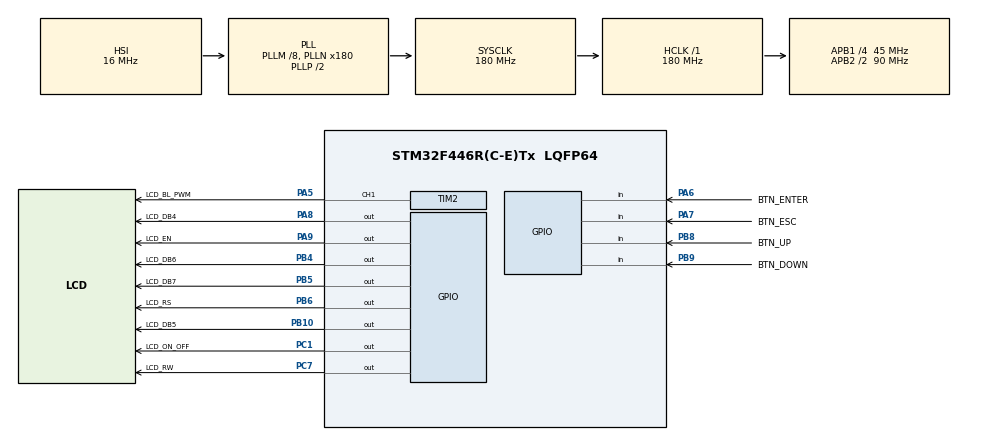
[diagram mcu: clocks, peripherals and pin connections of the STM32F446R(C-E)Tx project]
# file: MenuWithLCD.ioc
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Mcu.Family=STM32F4
Mcu.Name=STM32F446R(C-E)Tx
Mcu.Package=LQFP64
NVIC.PriorityGroup=NVIC_PRIORITYGROUP_4
NVIC.TIM1_BRK_TIM9_IRQn=true\:0\:0\:false\:false\:true\:true\:true\:true
PA5.GPIO_Label=LCD_BL_PWM
PA5.Signal=S_TIM2_CH1_ETR
PA6.GPIO_Label=BTN_ENTER
PA6.Signal=GPIO_Input
PA7.GPIO_Label=BTN_ESC
PA7.Signal=GPIO_Input
PA8.GPIO_Label=LCD_DB4
PA8.Signal=GPIO_Output
PA9.GPIO_Label=LCD_EN
PA9.Signal=GPIO_Output
PB10.GPIO_Label=LCD_DB5
PB10.Signal=GPIO_Output
PB4.GPIO_Label=LCD_DB6
PB4.Signal=GPIO_Output
PB5.GPIO_Label=LCD_DB7
PB5.Signal=GPIO_Output
PB6.GPIO_Label=LCD_RS
PB6.Signal=GPIO_Output
PB8.GPIO_Label=BTN_UP
PB8.Signal=GPIO_Input
PB9.GPIO_Label=BTN_DOWN
PB9.Signal=GPIO_Input
PC1.GPIO_Label=LCD_ON_OFF
PC1.Signal=GPIO_Output
PC7.GPIO_Label=LCD_RW
PC7.Signal=GPIO_Output
ProjectManager.HeapSize=0x200
ProjectManager.StackSize=0x400
ProjectManager.TargetToolchain=STM32CubeIDE
RCC.AHBFreq_Value=180000000
RCC.APB1CLKDivider=RCC_HCLK_DIV4
RCC.APB1Freq_Value=45000000
RCC.APB1TimFreq_Value=90000000
RCC.APB2CLKDivider=RCC_HCLK_DIV2
RCC.APB2Freq_Value=90000000
RCC.APB2TimFreq_Value=180000000
RCC.CortexFreq_Value=180000000
RCC.HCLKFreq_Value=180000000
RCC.PLLM=8
RCC.PLLN=180
RCC.SYSCLKFreq_VALUE=180000000
RCC.SYSCLKSource=RCC_SYSCLKSOURCE_PLLCLK
RCC.USBFreq_Value=180000000
RCC.VCOOutputFreq_Value=360000000
SH.S_TIM2_CH1_ETR.0=TIM2_CH1,PWM Generation1 CH1
TIM2.Channel-PWM\ Generation1\ CH1=TIM_CHANNEL_1
TIM2.Period=50
TIM2.Prescaler=40-1
TIM2.Pulse-PWM\ Generation1\ CH1=500
TIM9.Period=100-1
TIM9.Prescaler=18-1
VP_TIM9_VS_ClockSourceINT.Mode=Internal
board=custom

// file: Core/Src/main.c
/* USER CODE BEGIN Header */
/**
  ******************************************************************************
  * @file           : main.c
  * @brief          : Main program body
  ******************************************************************************
  * @attention
  *
  * Copyright (c) 2023 STMicroelectronics.
  * All rights reserved.
  *
  * This software is licensed under terms that can be found in the LICENSE file
  * in the root directory of this software component.
  * If no LICENSE file comes with this software, it is provided AS-IS.
  *
  ******************************************************************************
  */
/* USER CODE END Header */
#include "main.h"

/* USER CODE BEGIN Includes */
#include "lcdController.h"
#include "pushButton.h"
#include <stdio.h>
#include <string.h>
#include <inttypes.h>

/* USER CODE END Includes */

TIM_HandleTypeDef htim2;
TIM_HandleTypeDef htim9;

/* USER CODE BEGIN PV */
LcdController lcd;

PushButton upPushButton;
PushButton downPushButton;
PushButton enterPushButton;
PushButton escPushButton;

PressState pushButtonState = UNPRESSED;

uint8_t screen_0[17] = "++++++++++++++++";
uint8_t screen_1[17] = "----------------";
uint8_t screen_2[17] = "****************";
uint8_t screen_3[17] = "////////////////";
uint8_t screen_4[17] = "================";
uint8_t currentScreen = 0;
uint8_t stateMachine = 0;

/* USER CODE END PV */

void SystemClock_Config(void);
static void MX_GPIO_Init(void);
static void MX_TIM2_Init(void);
static void MX_TIM9_Init(void);

/* USER CODE BEGIN 0 */

/*
 * Timer interrupt handling (10us)
 */
void HAL_TIM_PeriodElapsedCallback(TIM_HandleTypeDef *htim)
{
	if(htim == &htim9)
	{
		if(lcdControllerGetDelayStatus(&lcd) == TRUE)
		{
			lcdControllerIncrementDelayCounter(&lcd);
		}

		if(lcdControllerGetEnableDelayStatus(&lcd) == TRUE)
		{
			lcdControllerIncrementEnableDelayCounter(&lcd);
		}
	}
}

/* USER CODE END 0 */

int main(void)
{

  /* MCU Configuration--------------------------------------------------------*/

  /* Reset of all peripherals, Initializes the Flash interface and the Systick. */
  HAL_Init();

  /* Configure the system clock */
  SystemClock_Config();

  /* Initialize all configured peripherals */
  MX_GPIO_Init();
  MX_TIM2_Init();
  MX_TIM9_Init();
  /* USER CODE BEGIN 2 */

  pushButtonInit(&upPushButton, BTN_UP_GPIO_Port, BTN_UP_Pin, NORMALLY_LOW, 3500, 30000);
  pushButtonInit(&downPushButton, BTN_DOWN_GPIO_Port, BTN_DOWN_Pin, NORMALLY_LOW, 3500, 30000);
  pushButtonInit(&enterPushButton, BTN_ENTER_GPIO_Port, BTN_ENTER_Pin, NORMALLY_LOW, 3500, 30000);
  pushButtonInit(&escPushButton, BTN_ESC_GPIO_Port, BTN_ESC_Pin, NORMALLY_LOW, 3500, 30000);

  lcdControllerInitStruct(&lcd,
		  LCD_RS_GPIO_Port, LCD_RS_Pin,
		  LCD_RW_GPIO_Port, LCD_RW_Pin,
		  LCD_EN_GPIO_Port, LCD_EN_Pin,
		  LCD_DB4_GPIO_Port, LCD_DB4_Pin,
		  LCD_DB5_GPIO_Port, LCD_DB5_Pin,
		  LCD_DB6_GPIO_Port, LCD_DB6_Pin,
		  LCD_DB7_GPIO_Port, LCD_DB7_Pin,
		  LCD_ON_OFF_GPIO_Port, LCD_ON_OFF_Pin,
		  &htim2, TIM_CHANNEL_1);

  HAL_Delay(250);
  HAL_TIM_PWM_Start(&htim2, TIM_CHANNEL_1);
  HAL_TIM_Base_Start_IT(&htim9);

  /* USER CODE END 2 */

  /* Infinite loop */
  while (1)
  {

    /* USER CODE BEGIN 3 */

	  /* ============================================================================= */

	  /********************************* TOP SLOT START ********************************/

	  if(lcdControllerIsInitialized(&lcd) == FALSE)
	  {
		  lcdControllerInit(&lcd);
		  continue;
	  }

	  /********************************** TOP SLOT END *********************************/

	  /* ============================================================================= */

	  /****************************** STATE MACHINE START ******************************/

	  switch (stateMachine)
	  {
		  case 0:
			  pushButtonState = pushButtonReadSingleAndContinuousPress(&upPushButton);
			  if(pushButtonState == PRESSED)
			  {
				  currentScreen += 1;
				  if(currentScreen > 4)
				  {
					  currentScreen = 4;
				  }
			  }
			  stateMachine = 1;
			  break;

		  case 1:
			  pushButtonState = pushButtonReadSingleAndContinuousPress(&downPushButton);
			  if(pushButtonState == PRESSED)
			  {
				  currentScreen -= 1;
				  if(currentScreen < 0)
				  {
					  currentScreen = 0;
				  }
			  }
			  stateMachine = 2;
			  break;

		  case 2:
			  switch (currentScreen)
			  {
				  case 0:
					  lcdControllerSetString(&lcd, ROW_0, screen_0);
					  lcdControllerSetString(&lcd, ROW_1, screen_0);
					  lcdControllerSetString(&lcd, ROW_2, screen_0);
					  lcdControllerSetString(&lcd, ROW_3, screen_0);
					  break;

				  case 1:
					  lcdControllerSetString(&lcd, ROW_0, screen_1);
					  lcdControllerSetString(&lcd, ROW_1, screen_1);
					  lcdControllerSetString(&lcd, ROW_2, screen_1);
					  lcdControllerSetString(&lcd, ROW_3, screen_1);
					  break;

				  case 2:
					  lcdControllerSetString(&lcd, ROW_0, screen_2);
					  lcdControllerSetString(&lcd, ROW_1, screen_2);
					  lcdControllerSetString(&lcd, ROW_2, screen_2);
					  lcdControllerSetString(&lcd, ROW_3, screen_2);
					  break;

				  case 3:
					  lcdControllerSetString(&lcd, ROW_0, screen_3);
					  lcdControllerSetString(&lcd, ROW_1, screen_3);
					  lcdControllerSetString(&lcd, ROW_2, screen_3);
					  lcdControllerSetString(&lcd, ROW_3, screen_3);
					  break;

				  case 4:
					  lcdControllerSetString(&lcd, ROW_0, screen_4);
					  lcdControllerSetString(&lcd, ROW_1, screen_4);
					  lcdControllerSetString(&lcd, ROW_2, screen_4);
					  lcdControllerSetString(&lcd, ROW_3, screen_4);
					  break;

				  default:
					  currentScreen = 0;
					  break;
			  }
			  stateMachine = 0;
			  break;

		  default:
			  stateMachine = 0;
			  break;
	  }

	  /******************************* STATE MACHINE END *******************************/

	  /* ============================================================================= */

	  /******************************* BOTTOM SLOT START *******************************/

	  lcdControllerUpdate(&lcd);

	  /******************************** BOTTOM SLOT END ********************************/

	  /* ============================================================================= */

  }
  /* USER CODE END 3 */
}

void SystemClock_Config(void)
{
  RCC_OscInitTypeDef RCC_OscInitStruct = {0};
  RCC_ClkInitTypeDef RCC_ClkInitStruct = {0};

  /** Configure the main internal regulator output voltage
  */
  __HAL_RCC_PWR_CLK_ENABLE();
  __HAL_PWR_VOLTAGESCALING_CONFIG(PWR_REGULATOR_VOLTAGE_SCALE1);

  /** Initializes the RCC Oscillators according to the specified parameters
  * in the RCC_OscInitTypeDef structure.
  */
  RCC_OscInitStruct.OscillatorType = RCC_OSCILLATORTYPE_HSI;
  RCC_OscInitStruct.HSIState = RCC_HSI_ON;
  RCC_OscInitStruct.HSICalibrationValue = RCC_HSICALIBRATION_DEFAULT;
  RCC_OscInitStruct.PLL.PLLState = RCC_PLL_ON;
  RCC_OscInitStruct.PLL.PLLSource = RCC_PLLSOURCE_HSI;
  RCC_OscInitStruct.PLL.PLLM = 8;
  RCC_OscInitStruct.PLL.PLLN = 180;
  RCC_OscInitStruct.PLL.PLLP = RCC_PLLP_DIV2;
  RCC_OscInitStruct.PLL.PLLQ = 2;
  RCC_OscInitStruct.PLL.PLLR = 2;
  if (HAL_RCC_OscConfig(&RCC_OscInitStruct) != HAL_OK)
  {
    Error_Handler();
  }

  /** Activate the Over-Drive mode
  */
  if (HAL_PWREx_EnableOverDrive() != HAL_OK)
  {
    Error_Handler();
  }

  /** Initializes the CPU, AHB and APB buses clocks
  */
  RCC_ClkInitStruct.ClockType = RCC_CLOCKTYPE_HCLK|RCC_CLOCKTYPE_SYSCLK
                              |RCC_CLOCKTYPE_PCLK1|RCC_CLOCKTYPE_PCLK2;
  RCC_ClkInitStruct.SYSCLKSource = RCC_SYSCLKSOURCE_PLLCLK;
  RCC_ClkInitStruct.AHBCLKDivider = RCC_SYSCLK_DIV1;
  RCC_ClkInitStruct.APB1CLKDivider = RCC_HCLK_DIV4;
  RCC_ClkInitStruct.APB2CLKDivider = RCC_HCLK_DIV2;

  if (HAL_RCC_ClockConfig(&RCC_ClkInitStruct, FLASH_LATENCY_5) != HAL_OK)
  {
    Error_Handler();
  }
}

static void MX_TIM2_Init(void)
{

  TIM_MasterConfigTypeDef sMasterConfig = {0};
  TIM_OC_InitTypeDef sConfigOC = {0};

  htim2.Instance = TIM2;
  htim2.Init.Prescaler = 40-1;
  htim2.Init.CounterMode = TIM_COUNTERMODE_UP;
  htim2.Init.Period = 50;
  htim2.Init.ClockDivision = TIM_CLOCKDIVISION_DIV1;
  htim2.Init.AutoReloadPreload = TIM_AUTORELOAD_PRELOAD_DISABLE;
  if (HAL_TIM_PWM_Init(&htim2) != HAL_OK)
  {
    Error_Handler();
  }
  sMasterConfig.MasterOutputTrigger = TIM_TRGO_RESET;
  sMasterConfig.MasterSlaveMode = TIM_MASTERSLAVEMODE_DISABLE;
  if (HAL_TIMEx_MasterConfigSynchronization(&htim2, &sMasterConfig) != HAL_OK)
  {
    Error_Handler();
  }
  sConfigOC.OCMode = TIM_OCMODE_PWM1;
  sConfigOC.Pulse = 500;
  sConfigOC.OCPolarity = TIM_OCPOLARITY_HIGH;
  sConfigOC.OCFastMode = TIM_OCFAST_DISABLE;
  if (HAL_TIM_PWM_ConfigChannel(&htim2, &sConfigOC, TIM_CHANNEL_1) != HAL_OK)
  {
    Error_Handler();
  }
  HAL_TIM_MspPostInit(&htim2);

}

static void MX_TIM9_Init(void)
{

  TIM_ClockConfigTypeDef sClockSourceConfig = {0};

  htim9.Instance = TIM9;
  htim9.Init.Prescaler = 18-1;
  htim9.Init.CounterMode = TIM_COUNTERMODE_UP;
  htim9.Init.Period = 100-1;
  htim9.Init.ClockDivision = TIM_CLOCKDIVISION_DIV1;
  htim9.Init.AutoReloadPreload = TIM_AUTORELOAD_PRELOAD_DISABLE;
  if (HAL_TIM_Base_Init(&htim9) != HAL_OK)
  {
    Error_Handler();
  }
  sClockSourceConfig.ClockSource = TIM_CLOCKSOURCE_INTERNAL;
  if (HAL_TIM_ConfigClockSource(&htim9, &sClockSourceConfig) != HAL_OK)
  {
    Error_Handler();
  }

}

static void MX_GPIO_Init(void)
{
  GPIO_InitTypeDef GPIO_InitStruct = {0};

  /* GPIO Ports Clock Enable */
  __HAL_RCC_GPIOC_CLK_ENABLE();
  __HAL_RCC_GPIOA_CLK_ENABLE();
  __HAL_RCC_GPIOB_CLK_ENABLE();

  /*Configure GPIO pin Output Level */
  HAL_GPIO_WritePin(GPIOC, LCD_ON_OFF_Pin|LCD_RW_Pin, GPIO_PIN_RESET);

  /*Configure GPIO pin Output Level */
  HAL_GPIO_WritePin(GPIOB, LCD_DB5_Pin|LCD_DB6_Pin|LCD_DB7_Pin|LCD_RS_Pin, GPIO_PIN_RESET);

  /*Configure GPIO pin Output Level */
  HAL_GPIO_WritePin(GPIOA, LCD_DB4_Pin|LCD_EN_Pin, GPIO_PIN_RESET);

  /*Configure GPIO pins : LCD_ON_OFF_Pin LCD_RW_Pin */
  GPIO_InitStruct.Pin = LCD_ON_OFF_Pin|LCD_RW_Pin;
  GPIO_InitStruct.Mode = GPIO_MODE_OUTPUT_PP;
  GPIO_InitStruct.Pull = GPIO_NOPULL;
  GPIO_InitStruct.Speed = GPIO_SPEED_FREQ_LOW;
  HAL_GPIO_Init(GPIOC, &GPIO_InitStruct);

  /*Configure GPIO pins : BTN_ENTER_Pin BTN_ESC_Pin */
  GPIO_InitStruct.Pin = BTN_ENTER_Pin|BTN_ESC_Pin;
  GPIO_InitStruct.Mode = GPIO_MODE_INPUT;
  GPIO_InitStruct.Pull = GPIO_NOPULL;
  HAL_GPIO_Init(GPIOA, &GPIO_InitStruct);

  /*Configure GPIO pins : LCD_DB5_Pin LCD_DB6_Pin LCD_DB7_Pin LCD_RS_Pin */
  GPIO_InitStruct.Pin = LCD_DB5_Pin|LCD_DB6_Pin|LCD_DB7_Pin|LCD_RS_Pin;
  GPIO_InitStruct.Mode = GPIO_MODE_OUTPUT_PP;
  GPIO_InitStruct.Pull = GPIO_NOPULL;
  GPIO_InitStruct.Speed = GPIO_SPEED_FREQ_LOW;
  HAL_GPIO_Init(GPIOB, &GPIO_InitStruct);

  /*Configure GPIO pins : LCD_DB4_Pin LCD_EN_Pin */
  GPIO_InitStruct.Pin = LCD_DB4_Pin|LCD_EN_Pin;
  GPIO_InitStruct.Mode = GPIO_MODE_OUTPUT_PP;
  GPIO_InitStruct.Pull = GPIO_NOPULL;
  GPIO_InitStruct.Speed = GPIO_SPEED_FREQ_LOW;
  HAL_GPIO_Init(GPIOA, &GPIO_InitStruct);

  /*Configure GPIO pins : BTN_UP_Pin BTN_DOWN_Pin */
  GPIO_InitStruct.Pin = BTN_UP_Pin|BTN_DOWN_Pin;
  GPIO_InitStruct.Mode = GPIO_MODE_INPUT;
  GPIO_InitStruct.Pull = GPIO_NOPULL;
  HAL_GPIO_Init(GPIOB, &GPIO_InitStruct);

}

void Error_Handler(void)
{
  __disable_irq();
  while (1)
  {
  }
}
